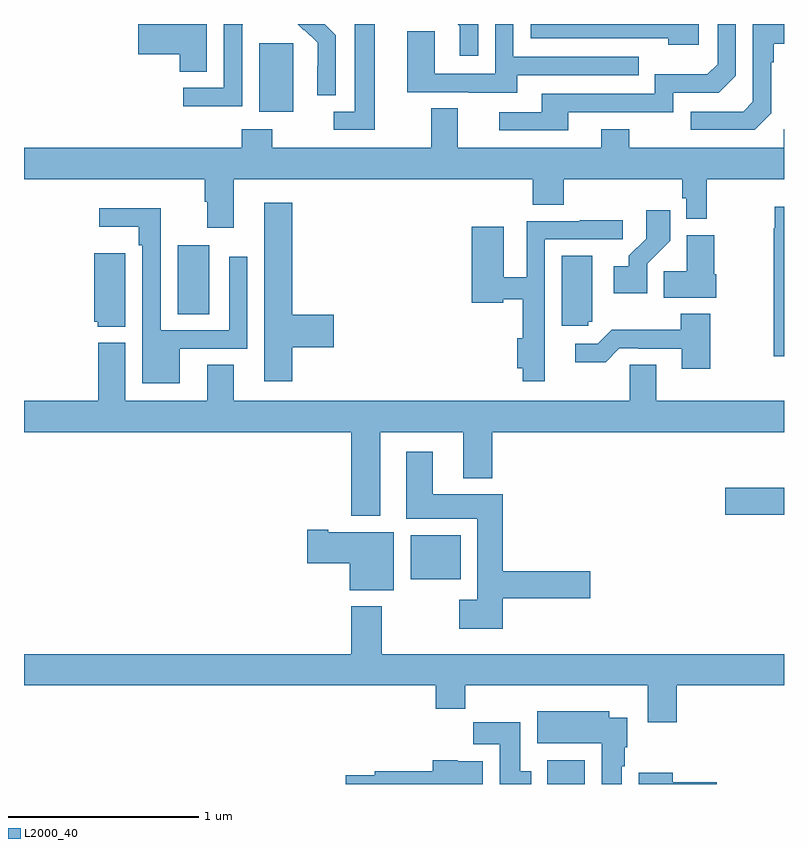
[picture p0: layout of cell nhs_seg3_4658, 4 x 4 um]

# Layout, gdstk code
import gdstk
lib = gdstk.Library(unit=1e-6, precision=1e-09)
def R(c, l, rs):  # rectangles x0, y0, x1, y1
    for r in rs: c.add(gdstk.rectangle(r[:2], r[2:], *l))
def P(c, l, *ps):  # polygons
    for p in ps: c.add(gdstk.Polygon(p, *l))
L2000_40 = (2000, 40)

nhs_seg3_4658 = lib.new_cell('nhs_seg3_4658')
R(nhs_seg3_4658, L2000_40, [(363.755,696.4,363.952,696.526), (363.035,697.478,363.298,697.708), (364.692,697.817,365,697.959), (361.808,698.872,361.975,699.235), (362.237,699.938,362.416,700.299)])
P(nhs_seg3_4658, L2000_40, [(363.865,699.936),(364.416,699.936),(364.416,700.038),(364.656,700.038),(364.746,700.128),(364.746,700.4),(364.65,700.4),(364.65,700.188),(364.597,700.135),(364.32,700.135),(364.32,700.032),(363.725,700.032),(363.725,699.936),(363.501,699.936),(363.501,699.84),(363.865,699.84)],
  [(364.552,700.4),(363.666,700.4),(363.666,700.326),(364.391,700.326),(364.391,700.292),(364.552,700.292)],
  [(361.963,700.4),(361.602,700.4),(361.602,700.241),(361.82,700.241),(361.82,700.15),(361.963,700.15)],
  [(362.64,700.342),(362.582,700.4),(362.44,700.4),(362.472,700.368),(362.475,700.371),(362.546,700.301),(362.546,700.178),(362.544,700.178),(362.544,700.024),(362.64,700.024)],
  [(362.845,700.4),(362.741,700.4),(362.741,699.939),(362.631,699.939),(362.631,699.843),(362.845,699.843)],
  [(363.39,700.4),(363.282,700.4),(363.293,700.389),(363.293,700.233),(363.39,700.233)],
  [(364.932,699.93),(364.932,700.199),(364.945,700.199),(364.945,700.295),(365,700.295),(365,700.4),(364.836,700.4),(364.836,699.99),(364.785,699.939),(364.509,699.939),(364.509,699.843),(364.845,699.843)],
  [(362.148,700.396),(362.151,700.396),(362.151,700.4),(362.052,700.4),(362.052,700.065),(361.839,700.065),(361.839,699.967),(362.148,699.967)],
  [(363.595,700.131),(364.235,700.131),(364.235,700.227),(363.576,700.227),(363.576,700.4),(363.48,700.4),(363.48,700.137),(363.162,700.137),(363.162,700.361),(363.017,700.361),(363.017,700.041),(363.341,700.041),(363.341,700.037),(363.595,700.037)],
  [(362.104,699.584),(363.677,699.584),(363.677,699.448),(363.842,699.448),(363.842,699.584),(364.465,699.584),(364.465,699.483),(364.485,699.483),(364.485,699.374),(364.594,699.374),(364.594,699.584),(365,699.584),(365,699.847),(364.998,699.847),(364.998,699.748),(364.185,699.748),(364.185,699.847),(364.037,699.847),(364.037,699.748),(363.283,699.748),(363.283,699.956),(363.143,699.956),(363.143,699.748),(362.307,699.748),(362.307,699.847),(362.147,699.847),(362.147,699.748),(361,699.748),(361,699.584),(361.952,699.584),(361.952,699.464),(361.964,699.464),(361.964,699.327),(362.104,699.327)],
  [(362.411,698.699),(362.629,698.699),(362.629,698.87),(362.411,698.87),(362.411,699.46),(362.264,699.46),(362.264,698.52),(362.411,698.52)],
  [(365,699.439),(364.952,699.439),(364.952,699.326),(364.945,699.326),(364.945,698.652),(365,698.652)],
  [(361.819,698.691),(362.175,698.691),(362.175,699.175),(362.079,699.175),(362.079,698.787),(361.719,698.787),(361.719,699.43),(361.395,699.43),(361.395,699.332),(361.603,699.332),(361.603,699.236),(361.623,699.236),(361.623,698.51),(361.819,698.51)],
  [(364.281,699.139),(364.4,699.258),(364.4,699.421),(364.275,699.421),(364.275,699.269),(364.184,699.179),(364.184,699.124),(364.104,699.124),(364.104,698.984),(364.281,698.984)],
  [(363.742,698.742),(363.741,698.742),(363.741,699.267),(364.15,699.267),(364.15,699.366),(363.925,699.366),(363.925,699.363),(363.645,699.363),(363.645,699.068),(363.526,699.068),(363.526,699.334),(363.356,699.334),(363.356,698.932),(363.522,698.932),(363.522,698.951),(363.625,698.951),(363.625,698.746),(363.596,698.746),(363.596,698.588),(363.625,698.588),(363.625,698.52),(363.742,698.52)],
  [(364.644,699.084),(364.632,699.084),(364.632,699.289),(364.487,699.289),(364.487,699.098),(364.366,699.098),(364.366,698.96),(364.644,698.96)],
  [(361.534,699.193),(361.37,699.193),(361.37,698.832),(361.389,698.832),(361.389,698.807),(361.534,698.807)],
  [(363.969,698.832),(363.991,698.832),(363.991,699.181),(363.83,699.181),(363.83,698.811),(363.969,698.811)],
  [(364.611,698.875),(364.456,698.875),(364.456,698.791),(364.093,698.791),(364.02,698.718),(363.9,698.718),(363.9,698.621),(364.061,698.621),(364.134,698.694),(364.234,698.694),(364.234,698.691),(364.463,698.691),(364.463,698.586),(364.611,698.586)],
  [(362.875,698.252),(363.311,698.252),(363.311,698.009),(363.464,698.009),(363.464,698.252),(365,698.252),(365,698.416),(364.327,698.416),(364.327,698.606),(364.188,698.606),(364.188,698.416),(362.104,698.416),(362.104,698.606),(361.964,698.606),(361.964,698.416),(361.534,698.416),(361.534,698.722),(361.391,698.722),(361.391,698.416),(361,698.416),(361,698.252),(362.723,698.252),(362.723,697.811),(362.875,697.811)],
  [(363.521,697.378),(363.979,697.378),(363.979,697.52),(363.521,697.52),(363.521,697.924),(363.151,697.924),(363.151,698.149),(363.011,698.149),(363.011,697.796),(363.386,697.796),(363.386,697.369),(363.291,697.369),(363.291,697.217),(363.521,697.217)],
  [(362.947,697.726),(362.602,697.726),(362.602,697.739),(362.49,697.739),(362.49,697.561),(362.714,697.561),(362.714,697.421),(362.947,697.421)],
  [(364.436,696.92),(365,696.92),(365,697.084),(362.883,697.084),(362.883,697.336),(362.723,697.336),(362.723,697.084),(361,697.084),(361,696.92),(363.167,696.92),(363.167,696.796),(363.323,696.796),(363.323,696.92),(364.283,696.92),(364.283,696.726),(364.436,696.726)],
  [(364.147,696.494),(364.162,696.494),(364.162,696.594),(364.174,696.594),(364.174,696.748),(364.081,696.748),(364.081,696.784),(363.701,696.784),(363.701,696.614),(364.04,696.614),(364.04,696.4),(364.147,696.4)],
  [(363.67,696.468),(363.613,696.468),(363.613,696.726),(363.364,696.726),(363.364,696.608),(363.503,696.608),(363.503,696.4),(363.67,696.4)],
  [(363.415,696.52),(363.282,696.52),(363.282,696.526),(363.152,696.526),(363.152,696.468),(362.847,696.468),(362.847,696.447),(362.694,696.447),(362.694,696.4),(363.415,696.4)],
  [(364.645,696.41),(364.414,696.41),(364.414,696.46),(364.235,696.46),(364.235,696.4),(364.645,696.4)])

lib.write_gds('nhs_seg3_4658.gds')
